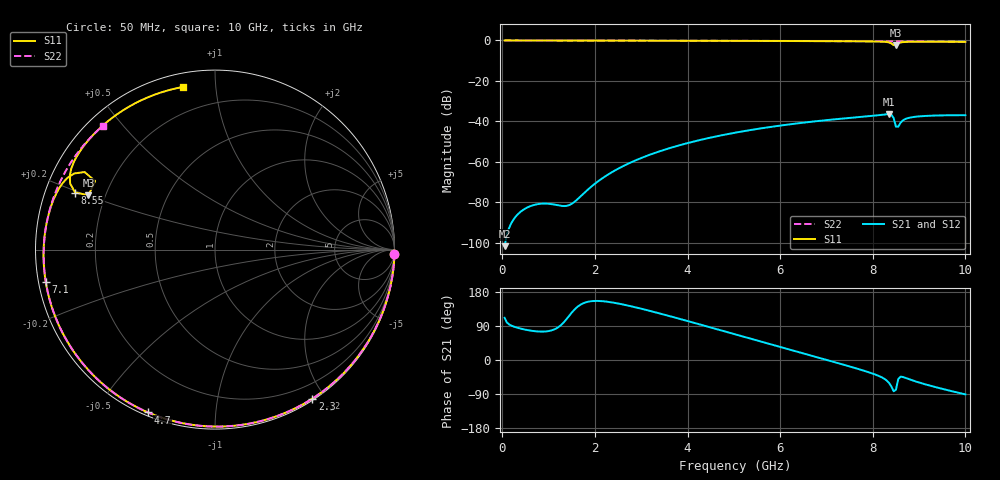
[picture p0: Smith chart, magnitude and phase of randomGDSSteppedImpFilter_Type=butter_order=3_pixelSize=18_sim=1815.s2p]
! freq	dB(S11)	phase(S11)	dB(S12)	phase(S12)
!  dB(S21)	phase(S21)	dB(S22)	phase(S22)
!S-par simulation data
#  GHz  S  DB  R 50
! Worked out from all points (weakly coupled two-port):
!   200 points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, 50 MHz to 10 GHz, reference 50 ohm
!   highest |S21| = -36.38 dB at 8.35 GHz (marker M1); lowest = -101.7 dB at 50 MHz (marker M2)
!   lowest |S11| = -2.3 dB at 8.5 GHz (marker M3), VSWR 7.60, Z = 6.86 + j10.1 ohm
!   |S11| at or under -10 dB: nowhere
!   |S22| runs from -0.6 to 0.0 dB; largest |S21 - S12| = 0
!   S11 on the Smith chart (normalised r, x): 50 MHz: 0, -90; 2.3 GHz: 0.02, -1.85; 4.7 GHz: 0.01, -0.67; 7.1 GHz: 0.02, -0.10; 8.55 GHz: 0.09, +0.19; 10 GHz: 0.07, +0.82
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0.05  -0.00 -1.3  -101.67 111.3  -101.67 111.3  -0.00 -1.3
0.75  -0.02 -18.9  -80.96 75.5  -80.96 75.5  -0.02 -19.1
1.55  -0.05 -38.7  -79.92 131.9  -79.92 131.9  -0.05 -38.9
1.75  -0.06 -43.6  -75.78 149.8  -75.78 149.8  -0.06 -43.8
2.3  -0.07 -56.9  -66.03 153.3  -66.03 153.3  -0.07 -57.0
2.8  -0.09 -68.7  -60.04 141.2  -60.04 141.2  -0.09 -68.7
3.4  -0.11 -82.7  -54.77 122.8  -54.77 122.8  -0.11 -82.3
4.7  -0.17 -112.4  -47.03 79.0  -47.03 79.0  -0.16 -110.5
5.05  -0.19 -120.3  -45.49 67.0  -45.49 67.0  -0.18 -117.9
5.9  -0.24 -139.8  -42.39 37.9  -42.39 37.9  -0.23 -135.5
6.7  -0.31 -159.0  -40.11 10.6  -40.11 10.6  -0.29 -152.1
7.1  -0.35 -169.1  -39.15 -3.1  -39.15 -3.1  -0.32 -160.4
7.9  -0.46 168.7  -37.46 -31.8  -37.46 -31.8  -0.40 -177.6
8.2  -0.60 158.5  -36.74 -46.1  -36.74 -46.1  -0.43 175.8
8.35  -0.99 151.6  -36.38 -60.2  -36.38 -60.2  -0.44 172.4
8.45  -2.28 150.2  -38.30 -82.5  -38.30 -82.5  -0.45 170.1
8.5  -2.30 156.7  -42.57 -78.5  -42.57 -78.5  -0.46 169.0
8.55  -1.50 157.8  -42.63 -50.5  -42.63 -50.5  -0.47 167.9
8.65  -0.83 152.9  -39.51 -44.9  -39.51 -44.9  -0.48 165.6
8.85  -0.63 144.3  -37.93 -53.6  -37.93 -53.6  -0.50 160.9
9.45  -0.63 122.2  -37.05 -74.5  -37.05 -74.5  -0.56 146.4
10  -0.69 101.2  -36.95 -90.7  -36.95 -90.7  -0.63 132.2
